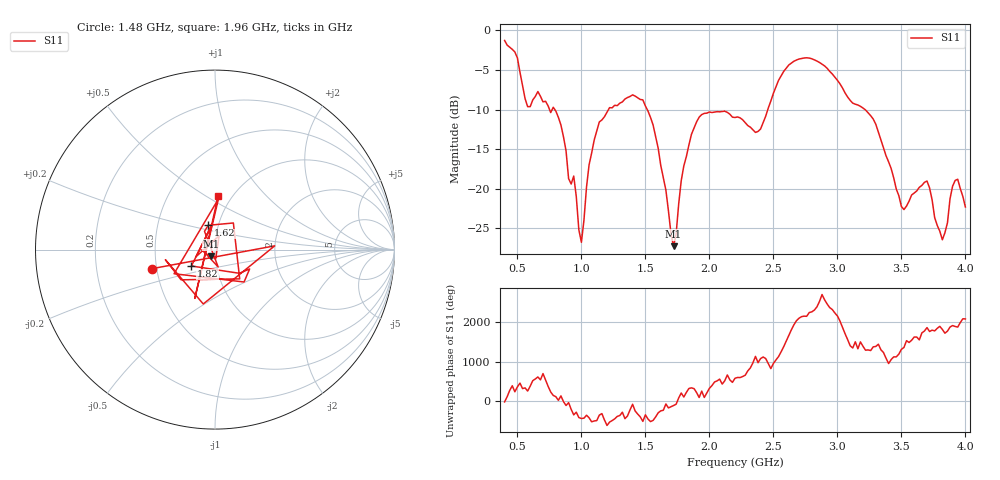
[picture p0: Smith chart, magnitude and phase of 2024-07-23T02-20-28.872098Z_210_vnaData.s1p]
!Created with skrf (http://scikit-rf.org).
# Hz S RI R 50.0
!freq ReS11 ImS11
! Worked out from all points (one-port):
!   181 points, 400 MHz to 4 GHz, reference 50 ohm
!   lowest |S11| = -27.2 dB at 1.72 GHz (marker M1), VSWR 1.09, Z = 47.8 - j3.64 ohm
!   |S11| at or under -10 dB: 792.7 MHz to 1.211 GHz (418.6 MHz wide, 41.8 % of centre); 1.515 GHz to 2.456 GHz (941.6 MHz wide, 47.4 % of centre); 3.216 GHz to end of sweep (the widest 3 of 4)
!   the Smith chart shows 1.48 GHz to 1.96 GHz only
!   S11 on the Smith chart (normalised r, x): 1.48 GHz: 0.47, -0.12; 1.62 GHz: 0.89, +0.25; 1.82 GHz: 0.76, -0.14; 1.96 GHz: 0.86, +0.57
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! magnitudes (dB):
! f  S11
! 400 MHz  -1.3
! 500 MHz  -3.5
! 580 MHz  -9.6
! 660 MHz  -7.7
! 860 MHz  -13.4
! 900 MHz  -18.7
! 940 MHz  -18.4
! 1 GHz  -26.8
! 1.1 GHz  -13.8
! 1.3 GHz  -9.2
! 1.48 GHz  -8.8
! 1.62 GHz  -17.0
! 1.72 GHz  -27.2
! 1.76 GHz  -21.9
! 1.82 GHz  -15.9
! 1.96 GHz  -10.5
! 2.2 GHz  -11.0
! 2.38 GHz  -12.8
! 2.66 GHz  -3.9
! 2.9 GHz  -4.5
! 3.1 GHz  -8.8
! 3.28 GHz  -11.2
! 3.5 GHz  -22.2
! 3.56 GHz  -21.6
! 3.7 GHz  -19.0
! 3.82 GHz  -26.4
! 3.92 GHz  -18.9
! 4 GHz  -22.3
